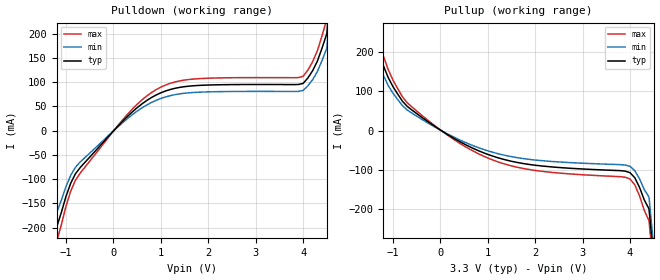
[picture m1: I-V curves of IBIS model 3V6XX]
[IBIS Ver]   2.1
[File name]   55202_3.ibs
[File Rev]   2.0
[Date]   7/20/01
[Source]   ICS MicroClock Applications Engineering 2
[Disclaimer] This information is for modeling purposes only, and is
(C) Copyright Integrated Circuit Systems, Inc. 1997-2001
                All rights reserved
ICS hereby grants the user of this IBIS model a non-exclusive,
nontransferable license to use this IBIS model under the following terms.
Before using this IBIS model, the user should read this license.
If the user does not accept these terms,  the IBIS model should be
returned to ICS within 30 days.
     The user is granted this license only to use the IBIS model and
is not granted rights to sell, load, rent, lease or license the IBIS
model in whole or in part, or in modified form to anyone other than
user. User may modify the IBIS model to suit its specific
applications but rights to derivative works and such modifications
shall belong to ICS.
     This IBIS model is provided on an "AS IS" basis and ICS makes
absolutely no warranty with respect to the information contained
herein. ICS DISCLAIMS AND CUSTOMER WAIVES ALL WARRANTIES, EXPRESS
OR IMPLIED, INCLUDING WARRANTIES OF MERCHANTABILITY OR FITNESS FOR
A PARTICULAR PURPOSE. The entire risk as to quality and performance
is with the Customer. ACCORDINGLY, IN NO EVENT SHALL THE COMPANY BE
LIABLE FOR ANY DAMAGES, WHETHER IN CONTRACT OR TORT,INCLUDING ANY
LOST PROFITS OR OTHER INCIDENTAL, CONSEQUENTIAL, EXEMPLARY, OR
PUNITIVE DAMAGES ARISING OUT OF THE USE OR APPLICATION OF THE IBIS
model provided in this package. Further, ICS reserves the right to
make changes without notice to any product herein to improve
reliability, function, or design. ICS does not convey any license
under patent rights or any other intellectual property rights,
including those of third parties.
     ICS is not obligated to provide maintenance or support
for the licensed IBIS model.
[Component]   ICS552-02
[Manufacturer] Integrated Circuit Systems Inc.
[Package]
|   typ   min   max
R_pkg   40m   35m   45m
L_pkg   1.65nH   1.35nH   1.95nH
C_pkg   0.24pF   0.14pF   0.34pF
[pin]   signal_name   model_name   R_pin   L_pin   C_pin
   3   Q0   3V6XX
   4   Q1   3V6XX
   5   Q2   3V6XX
   6   Q3   3V6XX
 11   Q4   3V6XX
 12   Q5   3V6XX
 13   Q6   3V6XX
 14   Q7   3V6XX
| Models and submodels in the file (1): 3V6XX (Output)
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|   ICS552-02 3.3V Clock Drive Model
| This model is suitable for all output pins on the
|  ICS552-02
[Model]   3V6XX
Model_type   Output
Polarity   Non-Inverting
Vmeas = 1.65V
Cref=15pf
|   typ   min   max
C_comp   5pF   4pF   6pF
|   typ   min   max
[Voltage range]  3.3V   3.15V   3.45V
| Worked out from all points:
|   slope of the pulldown table from 0 to 0.495 V, typ, clamps not added: 10.4 ohm
|   slope of the pullup table from 0 to 0.495 V, typ, clamps not added: 14 ohm
[pulldown]
|Voltage I (typ)   I (min)   I (max)
-3.3V     -3A        -3A        -3A
-1.2V     -200.1mA   -170mA     -230.1mA
-1.1V     -169.4mA   -144mA     -194.8mA
-900mV    -108.4mA   -92.1mA    -124.6mA
-700mV    -76.24mA   -64.8mA    -87.68mA
400mV     38.57mA    32.79mA    44.36mA
1.1V      81.57mA    69.34mA    93.81mA
1.8V      92.97mA    79.03mA    106.9mA
4V        97.22mA    82.64mA    111.8mA
4.3V      143.1mA    121.7mA    164.6mA
4.5V      200.3mA    170.3mA    230.3mA
6.6V      3A         3A         3A
[pullup]
|Voltage I (typ)   I (min)   I (max)
-3.3V     3A         3A         3A
-1.3V     200.3mA    170.2mA    230.3mA
-1.1V     135.6mA    115.3mA    156mA
-1V       112.4mA    95.55mA    129.3mA
-700mV    61.99mA    52.69mA    71.29mA
200mV     -13.76mA   -11.69mA   -15.82mA
900mV     -56.35mA   -47.89mA   -64.8mA
1.9V      -87.07mA   -74.01mA   -100.1mA
4V        -107.7mA   -91.55mA   -123.9mA
4.1V      -120.5mA   -102.4mA   -138.6mA
4.4V      -200.1mA   -170.1mA   -230.1mA
6.6V      -3A        -3A        -3A
[Ramp]
|   typ   min   max
dV/dt_r   1.56/0.36n   1.48/0.40n   1.64/0.32n
dV/dt_f   1.65/0.32n   1.57/0.35n   1.73/0.29n
